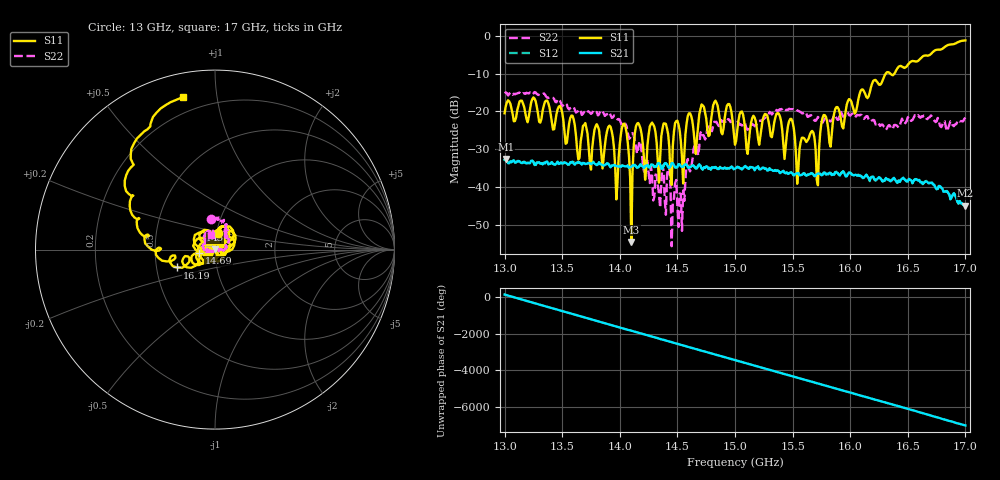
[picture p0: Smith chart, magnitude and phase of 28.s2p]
!Keysight Technologies,P9374A,MY57211807,A.19.30.04
!Date: Friday, May 01, 2026 14:45:12
!Correction: S11(C  2-Port  )
!S21(C  2-Port  )
!S12(C  2-Port  )
!S22(C  2-Port  )
!S2P File: Measurements: S11, S21, S12, S22:
# Hz S  RI  R 50
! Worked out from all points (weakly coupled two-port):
!   401 points, 13 GHz to 17 GHz, reference 50 ohm
!   highest |S21| = -32.60 dB at 13.01 GHz (marker M1); lowest = -44.9 dB at 17 GHz (marker M2)
!   lowest |S11| = -54.5 dB at 14.1 GHz (marker M3), VSWR 1.00, Z = 50 + j0.188 ohm
!   |S11| at or under -10 dB: start of sweep to 16.31 GHz; 16.34747 GHz to 16.38378 GHz (36.31 MHz wide, 0.222 % of centre)
!   |S22| runs from -55.7 to -14.9 dB; largest |S21 - S12| = 0.0012
!   S11 on the Smith chart (normalised r, x): 13 GHz: 1.02, +0.19; 14.69 GHz: 0.83, -0.03; 16.19 GHz: 0.64, -0.14; 17 GHz: 0.12, +0.80
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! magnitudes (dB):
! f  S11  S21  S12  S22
! 13 GHz  -20.5  -32.8  -32.7  -15.2
! 13.01 GHz  -18.6  -32.6  -32.6  -15.0
! 13.67 GHz  -26.1  -34.0  -34.0  -20.9
! 13.91 GHz  -23.8  -34.3  -34.3  -20.2
! 13.97 GHz  -43.3  -34.5  -34.5  -21.4
! 14.04 GHz  -23.3  -34.5  -34.5  -23.6
! 14.1 GHz  -54.5  -34.7  -34.6  -26.0
! 14.16 GHz  -23.1  -34.8  -34.7  -29.7
! 14.34 GHz  -38.9  -33.7  -33.7  -41.7
! 14.39 GHz  -23.2  -33.7  -33.9  -43.3
! 14.52 GHz  -25.1  -34.1  -34.0  -41.7
! 14.69 GHz  -20.8  -34.0  -34.0  -29.4
! 14.95 GHz  -18.1  -35.1  -35.1  -22.2
! 15 GHz  -28.8  -35.1  -35.2  -23.0
! 15.37 GHz  -20.4  -35.7  -35.6  -19.9
! 15.55 GHz  -35.1  -36.3  -36.2  -19.9
! 15.67 GHz  -25.2  -36.4  -36.4  -21.3
! 15.71 GHz  -38.1  -36.6  -36.6  -22.0
! 15.77 GHz  -20.9  -36.2  -36.2  -22.4
! 16.19 GHz  -12.6  -37.4  -37.2  -22.4
! 16.34 GHz  -9.8  -38.3  -38.1  -23.6
! 17 GHz  -1.2  -44.9  -44.9  -21.7
